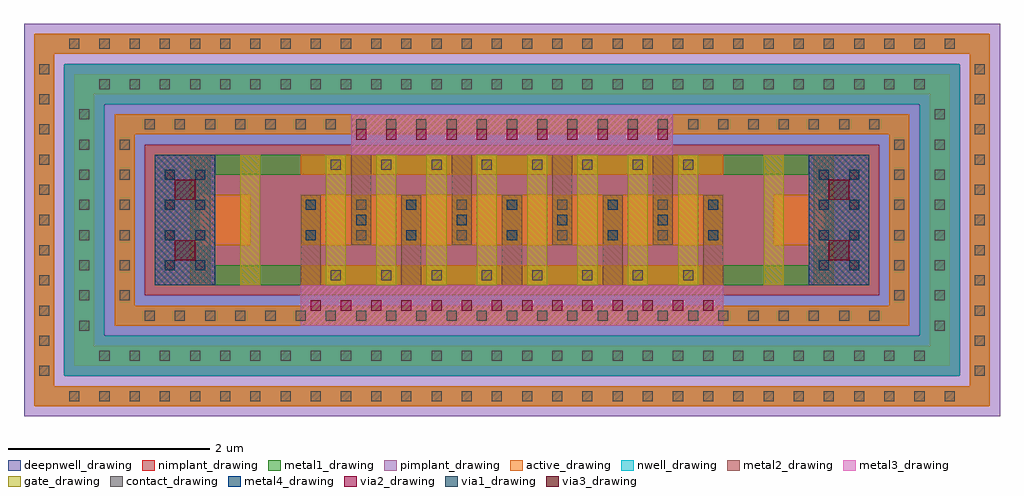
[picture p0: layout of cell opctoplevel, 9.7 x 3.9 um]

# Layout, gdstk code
import gdstk
lib = gdstk.Library(unit=1e-6, precision=1e-09)
def R(c, l, rs):  # rectangles x0, y0, x1, y1
    for r in rs: c.add(gdstk.rectangle(r[:2], r[2:], *l))
def A(c, l, x, y, w, h, nx, ny, dx, dy):  # array of equal rectangles
    R(c, l, [(x+i*dx, y+j*dy, x+i*dx+w, y+j*dy+h) for i in range(nx) for j in range(ny)])
def P(c, l, *ps):  # polygons
    for p in ps: c.add(gdstk.Polygon(p, *l))
active_drawing = (1, 0)
nwell_drawing = (3, 0)
pimplant_drawing = (4, 0)
nimplant_drawing = (5, 0)
gate_drawing = (6, 0)
contact_drawing = (7, 0)
metal1_drawing = (8, 0)
via1_drawing = (9, 0)
metal2_drawing = (10, 0)
via2_drawing = (11, 0)
metal3_drawing = (12, 0)
via3_drawing = (13, 0)
metal4_drawing = (14, 0)
deepnwell_drawing = (33, 0)

opctoplevel = lib.new_cell('opctoplevel')
R(opctoplevel, active_drawing, [(-2.9,-1.6,6.6,-1.4), (-2.9,-1.6,-2.7,2.1), (6.4,-1.6,6.6,2.1), (-2.5,-1.2,6.2,-1), (-2.5,-1.2,-2.3,1.7), (6,-1.2,6.2,1.7), (-2.1,-0.8,5.8,-0.6), (-2.1,-0.8,-1.9,1.3), (5.6,-0.8,5.8,1.3), (-0.25,-0.4,3.95,-0.2), (-1.25,0,-0.75,0.5), (-0.25,0,3.95,0.5), (4.45,0,4.95,0.5), (-0.25,0.7,3.95,0.9), (-2.1,1.1,5.8,1.3), (-2.5,1.5,6.2,1.7), (-2.9,1.9,6.6,2.1)])
P(opctoplevel, nwell_drawing, [(-2.6,-1.3),(6.3,-1.3),(6.3,1.8),(-2.6,1.8),(-2.6,-0.9),(-2.2,-0.9),(-2.2,1.4),(5.9,1.4),(5.9,-0.9),(-2.6,-0.9)])
R(opctoplevel, pimplant_drawing, [(-3,-1.7,6.7,-1.3), (-3,-1.7,-2.6,2.2), (6.3,-1.7,6.7,2.2), (-2.2,-0.9,5.9,-0.5), (-2.2,-0.9,-1.8,1.4), (5.5,-0.9,5.9,1.4), (-2.2,1,5.9,1.4), (-3,1.8,6.7,2.2)])
R(opctoplevel, nimplant_drawing, [(-2.6,-1.3,6.3,-0.9), (-2.6,-1.3,-2.2,1.8), (5.9,-1.3,6.3,1.8), (-1.8,-0.5,5.5,1), (-2.6,1.4,6.3,1.8)])
A(opctoplevel, gate_drawing, 0, -0.4, 0.2, 1.3, 8, 1, 0.5, 0)
R(opctoplevel, gate_drawing, [(-1.35,-0.4,-1.15,0.9), (-0.85,-0.4,-0.65,0.9), (4.35,-0.4,4.55,0.9), (4.85,-0.4,5.05,0.9)])
A(opctoplevel, contact_drawing, -2.55, -1.55, 0.1, 0.1, 30, 2, 0.3, 3.5)
A(opctoplevel, contact_drawing, -2.85, -1.3, 0.1, 0.1, 1, 11, 0, 0.3)
A(opctoplevel, contact_drawing, 6.45, -1.3, 0.1, 0.1, 1, 11, 0, 0.3)
A(opctoplevel, contact_drawing, -2.25, -1.15, 0.1, 0.1, 28, 2, 0.3, 2.7)
A(opctoplevel, contact_drawing, -2.45, -0.85, 0.1, 0.1, 1, 8, 0, 0.3)
A(opctoplevel, contact_drawing, 6.05, -0.85, 0.1, 0.1, 1, 8, 0, 0.3)
A(opctoplevel, contact_drawing, -1.8, -0.75, 0.1, 0.1, 25, 2, 0.3, 1.9)
A(opctoplevel, contact_drawing, -2.05, -0.55, 0.1, 0.1, 1, 6, 0, 0.3)
A(opctoplevel, contact_drawing, 5.65, -0.55, 0.1, 0.1, 1, 6, 0, 0.3)
A(opctoplevel, contact_drawing, 0.05, -0.35, 0.1, 0.1, 8, 2, 0.5, 1.1)
A(opctoplevel, contact_drawing, -0.2, 0.05, 0.1, 0.1, 9, 2, 0.5, 0.3)
A(opctoplevel, metal1_drawing, -0.25, 0, 0.2, 0.5, 9, 1, 0.5, 0)
R(opctoplevel, metal1_drawing, [(-2.9,-1.6,6.6,-1.4), (-2.9,-1.6,-2.7,2.1), (6.4,-1.6,6.6,2.1), (-2.5,-1.2,6.2,-1), (-2.5,-1.2,-2.3,1.7), (6,-1.2,6.2,1.7), (-2.1,-0.8,5.8,-0.6), (-2.1,-0.8,-1.9,1.3), (5.6,-0.8,5.8,1.3), (-1.7,-0.4,-1.1,0.9), (-1.1,-0.4,4.8,-0.2), (0,-0.4,3.7,-0.2), (4.8,-0.4,5.4,0.9), (-1.1,0.7,4.8,0.9), (0,0.7,3.7,0.9), (-2.1,1.1,5.8,1.3), (-2.5,1.5,6.2,1.7), (-2.9,1.9,6.6,2.1)])
A(opctoplevel, via1_drawing, -1.6, -0.25, 0.1, 0.1, 1, 4, 0, 0.3)
A(opctoplevel, via1_drawing, -1.3, -0.25, 0.1, 0.1, 1, 4, 0, 0.3)
A(opctoplevel, via1_drawing, 4.9, -0.25, 0.1, 0.1, 1, 4, 0, 0.3)
A(opctoplevel, via1_drawing, 5.2, -0.25, 0.1, 0.1, 1, 4, 0, 0.3)
A(opctoplevel, via1_drawing, -0.2, 0.05, 0.1, 0.1, 5, 2, 1, 0.3)
A(opctoplevel, via1_drawing, 0.3, 0.2, 0.1, 0.1, 4, 1, 1, 0)
A(opctoplevel, metal2_drawing, -0.25, -0.4, 0.2, 0.4, 5, 1, 1, 0)
A(opctoplevel, metal2_drawing, -0.25, 0, 0.2, 0.5, 9, 1, 0.5, 0)
A(opctoplevel, metal2_drawing, 0.25, 0.5, 0.2, 0.4, 4, 1, 1, 0)
R(opctoplevel, metal2_drawing, [(-0.25,-0.8,3.95,-0.4), (-1.7,-0.4,-1.1,0.9), (4.8,-0.4,5.4,0.9), (0.25,0.9,3.45,1.3)])
A(opctoplevel, via2_drawing, -0.15, -0.65, 0.1, 0.1, 14, 1, 0.3, 0)
A(opctoplevel, via2_drawing, -1.6, -0.25, 0.1, 0.1, 1, 4, 0, 0.3)
A(opctoplevel, via2_drawing, -1.3, -0.25, 0.1, 0.1, 1, 4, 0, 0.3)
A(opctoplevel, via2_drawing, 4.9, -0.25, 0.1, 0.1, 1, 4, 0, 0.3)
A(opctoplevel, via2_drawing, 5.2, -0.25, 0.1, 0.1, 1, 4, 0, 0.3)
A(opctoplevel, via2_drawing, 0.3, 1.05, 0.1, 0.1, 11, 1, 0.3, 0)
R(opctoplevel, metal3_drawing, [(-0.25,-0.8,3.95,-0.4), (-1.7,-0.4,-1.1,0.9), (4.8,-0.4,5.4,0.9), (0.25,0.9,3.45,1.3)])
R(opctoplevel, via3_drawing, [(-1.5,-0.15,-1.3,0.05), (5,-0.15,5.2,0.05), (-1.5,0.45,-1.3,0.65), (5,0.45,5.2,0.65)])
R(opctoplevel, metal4_drawing, [(-1.7,-0.4,-1.1,0.9), (4.8,-0.4,5.4,0.9)])
R(opctoplevel, deepnwell_drawing, [(-2.6,-1.3,6.3,1.8)])

lib.write_gds('opctoplevel.gds')
